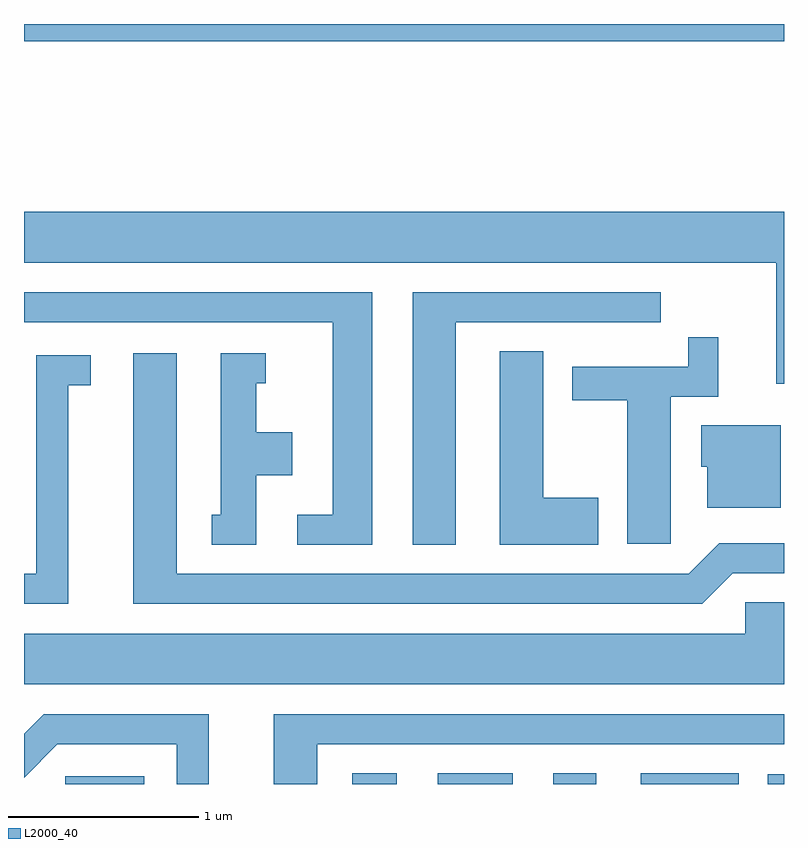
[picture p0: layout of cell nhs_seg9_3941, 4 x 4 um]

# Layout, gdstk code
import gdstk
lib = gdstk.Library(unit=1e-6, precision=1e-09)
def R(c, l, rs):  # rectangles x0, y0, x1, y1
    for r in rs: c.add(gdstk.rectangle(r[:2], r[2:], *l))
def P(c, l, *ps):  # polygons
    for p in ps: c.add(gdstk.Polygon(p, *l))
L2000_40 = (2000, 40)

nhs_seg9_3941 = lib.new_cell('nhs_seg9_3941')
R(nhs_seg9_3941, L2000_40, [(301.828,1962.432,302.244,1962.474), (303.338,1962.432,303.574,1962.489), (303.788,1962.432,304.184,1962.489), (304.396,1962.432,304.624,1962.489), (304.856,1962.432,305.374,1962.489), (305.526,1962.432,305.611,1962.484), (301.611,1966.341,305.611,1966.432)])
P(nhs_seg9_3941, L2000_40, [(305.611,1965.444),(301.611,1965.444),(301.611,1965.176),(305.571,1965.176),(305.571,1964.538),(305.611,1964.538)],
  [(303.884,1964.861),(304.963,1964.861),(304.963,1965.019),(303.656,1965.019),(303.656,1963.691),(303.884,1963.691)],
  [(303.444,1965.019),(301.611,1965.019),(301.611,1964.861),(303.236,1964.861),(303.236,1963.849),(303.048,1963.849),(303.048,1963.691),(303.444,1963.691)],
  [(305.014,1964.471),(305.264,1964.471),(305.264,1964.783),(305.106,1964.783),(305.106,1964.629),(304.496,1964.629),(304.496,1964.451),(304.786,1964.451),(304.786,1963.696),(305.014,1963.696)],
  [(304.634,1963.939),(304.344,1963.939),(304.344,1964.709),(304.116,1964.709),(304.116,1963.691),(304.634,1963.691)],
  [(305.342,1963.541),(305.611,1963.541),(305.611,1963.699),(305.269,1963.699),(305.109,1963.539),(302.414,1963.539),(302.414,1964.699),(302.186,1964.699),(302.186,1963.381),(305.182,1963.381)],
  [(302.834,1964.056),(303.024,1964.056),(303.024,1964.284),(302.834,1964.284),(302.834,1964.541),(302.883,1964.541),(302.883,1964.699),(302.646,1964.699),(302.646,1963.849),(302.598,1963.849),(302.598,1963.691),(302.834,1963.691)],
  [(301.844,1964.531),(301.963,1964.531),(301.963,1964.689),(301.676,1964.689),(301.676,1963.539),(301.611,1963.539),(301.611,1963.381),(301.844,1963.381)],
  [(305.594,1964.319),(305.176,1964.319),(305.176,1964.101),(305.206,1964.101),(305.206,1963.886),(305.594,1963.886)],
  [(305.611,1963.389),(305.406,1963.389),(305.406,1963.224),(301.611,1963.224),(301.611,1962.956),(305.611,1962.956)],
  [(303.154,1962.641),(305.611,1962.641),(305.611,1962.799),(302.926,1962.799),(302.926,1962.432),(303.154,1962.432)],
  [(302.584,1962.799),(301.714,1962.799),(301.611,1962.696),(301.611,1962.465),(301.787,1962.641),(302.416,1962.641),(302.416,1962.432),(302.584,1962.432)])

lib.write_gds('nhs_seg9_3941.gds')
